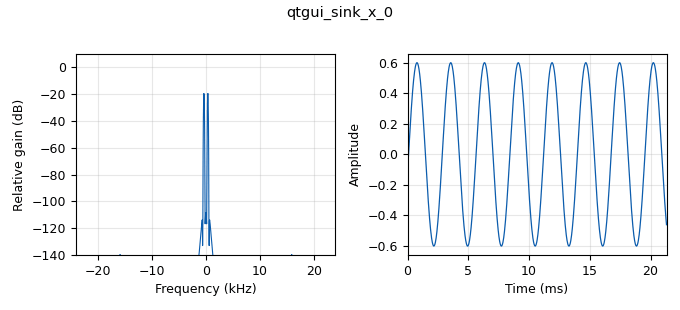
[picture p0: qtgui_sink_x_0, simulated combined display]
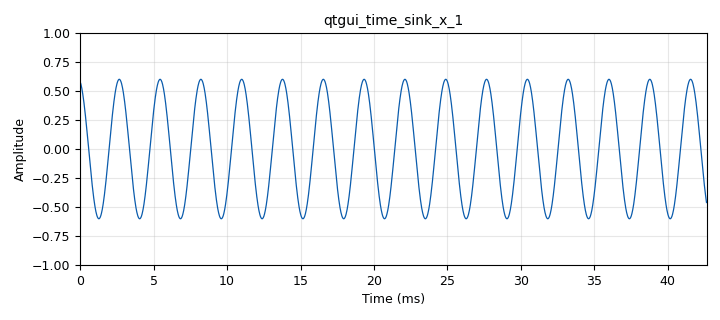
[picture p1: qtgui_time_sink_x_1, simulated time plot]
<?xml version='1.0' encoding='utf-8'?>
<?grc format='1' created='3.7.11'?>
<flow_graph>
<block>
<key>options</key>
<param><key>id</key><value>top_block</value></param>
<param><key>category</key><value>Custom</value></param>
<param><key>generate_options</key><value>qt_gui</value></param>
</block>
<block>
<key>variable</key>
<param><key>id</key><value>samp_rate</value></param>
<param><key>value</key><value>48000</value></param>
</block>
<block>
<key>audio_sink</key>
<param><key>id</key><value>audio_sink_0</value></param>
<param><key>samp_rate</key><value>samp_rate</value></param>
</block>
<block>
<key>blocks_add_const_vxx</key>
<param><key>id</key><value>blocks_add_const_vxx_0</value></param>
<param><key>const</key><value>0</value></param>
<param><key>_enabled</key><value>2</value></param>
<param><key>type</key><value>float</value></param>
</block>
<block>
<key>blocks_repeat</key>
<param><key>id</key><value>blocks_repeat_0</value></param>
<param><key>interp</key><value>48000</value></param>
<param><key>type</key><value>float</value></param>
</block>
<block>
<key>blocks_vco_f</key>
<param><key>id</key><value>blocks_vco_f_0</value></param>
<param><key>amplitude</key><value>0.6</value></param>
<param><key>samp_rate</key><value>samp_rate</value></param>
<param><key>sensitivity</key><value>6.28</value></param>
</block>
<block>
<key>blocks_vector_source_x</key>
<param><key>id</key><value>blocks_vector_source_x_0_0</value></param>
<param><key>type</key><value>float</value></param>
<param><key>repeat</key><value>True</value></param>
<param><key>vector</key><value>(240,270,300,320,360,405,450,480,100,480,450,405,360,320,300,270,240)</value></param>
</block>
<block>
<key>qtgui_sink_x</key>
<param><key>id</key><value>qtgui_sink_x_0</value></param>
<param><key>bw</key><value>samp_rate</value></param>
<param><key>fc</key><value>0</value></param>
<param><key>freqchangevar</key><value>None</value></param>
<param><key>fftsize</key><value>1024</value></param>
<param><key>showports</key><value>True</value></param>
<param><key>type</key><value>float</value></param>
<param><key>wintype</key><value>firdes.WIN_BLACKMAN_hARRIS</value></param>
</block>
<block>
<key>qtgui_time_sink_x</key>
<param><key>id</key><value>qtgui_time_sink_x_1</value></param>
<param><key>color1</key><value>"blue"</value></param>
<param><key>label1</key><value></value></param>
<param><key>size</key><value>2048</value></param>
<param><key>srate</key><value>samp_rate</value></param>
<param><key>type</key><value>float</value></param>
</block>
<connection><source_block_id>blocks_add_const_vxx_0</source_block_id><sink_block_id>blocks_repeat_0</sink_block_id><source_key>0</source_key><sink_key>0</sink_key></connection>
<connection><source_block_id>blocks_repeat_0</source_block_id><sink_block_id>blocks_vco_f_0</sink_block_id><source_key>0</source_key><sink_key>0</sink_key></connection>
<connection><source_block_id>blocks_vco_f_0</source_block_id><sink_block_id>audio_sink_0</sink_block_id><source_key>0</source_key><sink_key>0</sink_key></connection>
<connection><source_block_id>blocks_vco_f_0</source_block_id><sink_block_id>qtgui_sink_x_0</sink_block_id><source_key>0</source_key><sink_key>0</sink_key></connection>
<connection><source_block_id>blocks_vco_f_0</source_block_id><sink_block_id>qtgui_time_sink_x_1</sink_block_id><source_key>0</source_key><sink_key>0</sink_key></connection>
<connection><source_block_id>blocks_vector_source_x_0_0</source_block_id><sink_block_id>blocks_add_const_vxx_0</sink_block_id><source_key>0</source_key><sink_key>0</sink_key></connection>
</flow_graph>
